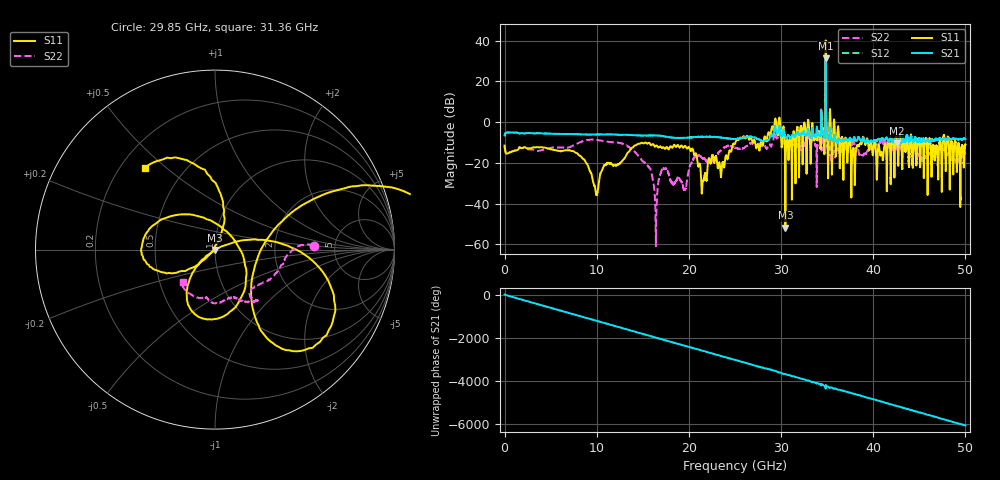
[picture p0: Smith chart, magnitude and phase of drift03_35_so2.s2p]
!Created with skrf (http://scikit-rf.org).
# Hz S RI R 50.0
!freq ReS11 ImS11 ReS21 ImS21 ReS12 ImS12 ReS22 ImS22
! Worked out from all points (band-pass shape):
!   10001 points, 300 kHz to 50 GHz, reference 50 ohm
!   highest |S21| = 31.27 dB at 34.85 GHz (marker M1); lowest = -10.3 dB at 42.57 GHz (marker M2)
!   |S21| within 3 dB of the highest: 34.84413 GHz to 34.84582 GHz (1.684 MHz wide, 0.00483 % of centre)
!   lowest |S11| = -51.8 dB at 30.47 GHz (marker M3), VSWR 1.01, Z = 50 - j0.257 ohm
!   |S11| at or under -10 dB: start of sweep to 15.23 GHz; 15.31 GHz to 25.05 GHz (9.738 GHz wide, 48.3 % of centre); 40.22 GHz to 41.62 GHz (1.399 GHz wide, 3.42 % of centre) (the widest 3 of 56)
!   |S22| runs from -60.8 to 22.3 dB; largest |S21 - S12| = 5.1
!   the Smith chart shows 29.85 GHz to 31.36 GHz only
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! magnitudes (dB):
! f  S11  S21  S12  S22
! 300 kHz  -11.4  -6.5  -6.5  -11.5
! 8.335 GHz  -17.1  -6.0  -6.0  -9.6
! 9.955 GHz  -35.8  -6.1  -6.1  -8.7
! 10.99 GHz  -20.8  -6.0  -6.0  -9.5
! 13.92 GHz  -12.3  -6.3  -6.3  -13.6
! 16.36 GHz  -11.9  -6.5  -6.5  -43.1
! 16.67 GHz  -12.4  -6.5  -6.5  -29.8
! 17.32 GHz  -12.7  -6.9  -6.9  -22.9
! 19.55 GHz  -11.7  -7.7  -7.7  -32.8
! 20.21 GHz  -13.9  -7.5  -7.5  -20.3
! 21.55 GHz  -28.6  -7.2  -7.2  -17.7
! 25 GHz  -10.6  -8.2  -8.2  -12.6
! 29.6 GHz  -5.5  -5.7  -5.9  -7.8
! 30.47 GHz  -51.8  -7.2  -7.2  -9.1
! 33.34 GHz  -3.8  -6.8  -6.7  -9.4
! 34.85 GHz  40.1  31.3  31.1  22.3
! 35.63 GHz  -5.9  -9.3  -9.2  -15.9
! 37.82 GHz  -12.7  -8.4  -8.4  -10.0
! 38.81 GHz  -9.1  -8.2  -8.2  -16.1
! 41.67 GHz  -9.4  -9.5  -9.4  -11.5
! 42.57 GHz  -9.0  -10.3  -10.3  -13.3
! 50 GHz  -10.8  -8.2  -8.2  -15.5
